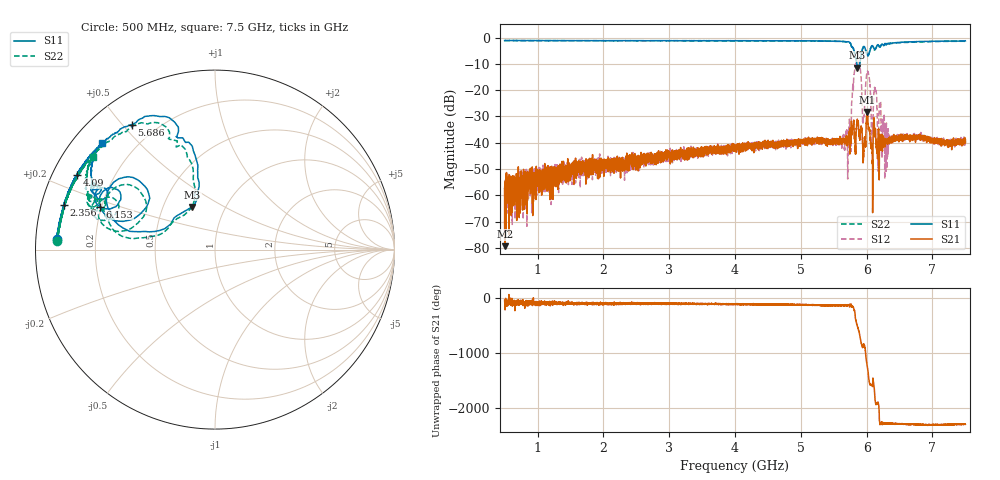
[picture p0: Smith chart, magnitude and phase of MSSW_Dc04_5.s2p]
!Keysight Technologies,M9374A,MY55442783,A.12.55.05
!Date: Wednesday, May 19, 2021 17:05:05
!Correction: S11(Full 2 Port(1,2))
!S21(Full 2 Port(1,2))
!S12(Full 2 Port(1,2))
!S22(Full 2 Port(1,2))
!S2P File: Measurements: S11, S21, S12, S22:
# Hz S  RI  R 50
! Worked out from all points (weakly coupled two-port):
!   7001 points, 500 MHz to 7.5 GHz, reference 50 ohm
!   highest |S21| = -28.25 dB at 6.006 GHz (marker M1); lowest = -79.4 dB at 507 MHz (marker M2)
!   lowest |S11| = -11.4 dB at 5.858 GHz (marker M3), VSWR 1.74, Z = 35 + j17.9 ohm
!   |S11| at or under -10 dB: 5.852 GHz to 5.894 GHz (42.53 MHz wide, 0.724 % of centre)
!   |S22| runs from -11.8 to -1.1 dB; largest |S21 - S12| = 0.37
!   S11 on the Smith chart (normalised r, x): 500 MHz: 0.06, +0.03; 2.356 GHz: 0.07, +0.14; 4.09 GHz: 0.07, +0.25; 5.686 GHz: 0.12, +0.53; 6.153 GHz: 0.19, +0.17; 7.5 GHz: 0.08, +0.39
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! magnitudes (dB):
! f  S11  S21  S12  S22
! 500 MHz  -1.1  -76.1  -56.6  -1.1
! 507 MHz  -1.1  -79.4  -58.5  -1.1
! 546 MHz  -1.1  -62.4  -62.3  -1.1
! 1.667 GHz  -1.1  -48.6  -48.5  -1.2
! 2.356 GHz  -1.1  -50.3  -45.5  -1.2
! 2.834 GHz  -1.1  -45.3  -44.9  -1.2
! 4 GHz  -1.1  -41.5  -42.0  -1.2
! 4.09 GHz  -1.2  -41.9  -42.8  -1.2
! 5.167 GHz  -1.2  -38.9  -39.1  -1.3
! 5.686 GHz  -1.6  -38.0  -36.3  -1.6
! 5.739 GHz  -1.7  -36.7  -31.3  -1.8
! 5.806 GHz  -4.7  -31.7  -14.3  -4.9
! 5.858 GHz  -11.4  -31.0  -8.1  -11.6
! 5.891 GHz  -10.5  -36.6  -10.0  -10.5
! 5.95 GHz  -3.5  -44.3  -30.6  -3.6
! 6.006 GHz  -6.5  -28.3  -13.1  -6.8
! 6.031 GHz  -6.4  -34.3  -14.0  -6.4
! 6.075 GHz  -3.2  -40.5  -40.2  -3.3
! 6.127 GHz  -4.5  -35.0  -19.3  -4.6
! 6.153 GHz  -3.3  -40.7  -23.2  -3.3
! 6.334 GHz  -2.2  -39.4  -38.2  -2.3
! 7.5 GHz  -1.2  -38.8  -39.3  -1.4
